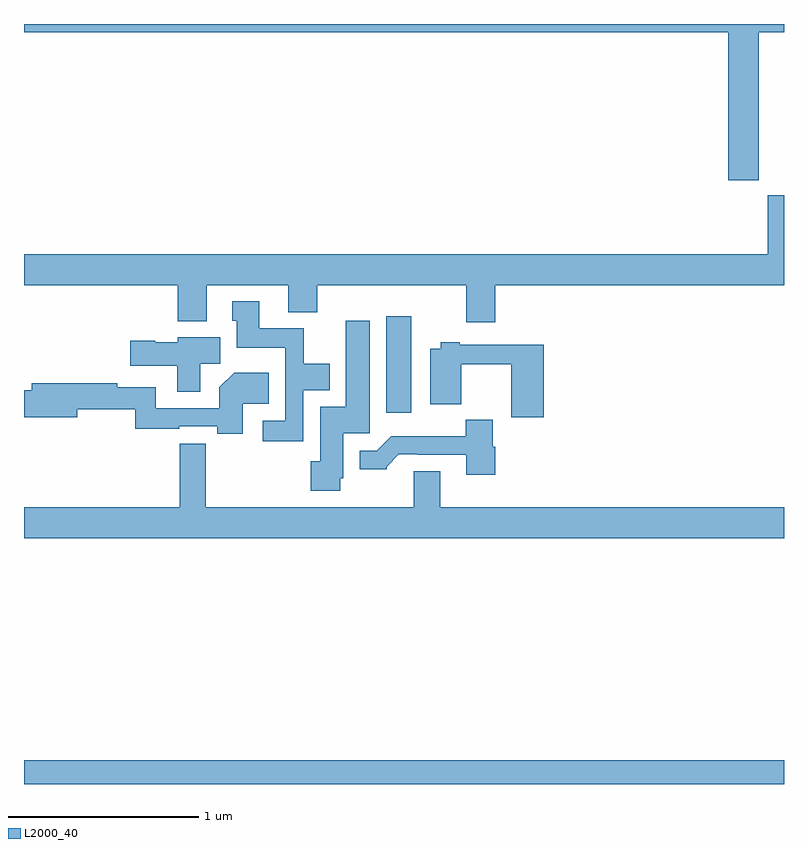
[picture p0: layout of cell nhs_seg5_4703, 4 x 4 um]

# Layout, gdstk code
import gdstk
lib = gdstk.Library(unit=1e-6, precision=1e-09)
def R(c, l, rs):  # rectangles x0, y0, x1, y1
    for r in rs: c.add(gdstk.rectangle(r[:2], r[2:], *l))
def P(c, l, *ps):  # polygons
    for p in ps: c.add(gdstk.Polygon(p, *l))
L2000_40 = (2000, 40)

nhs_seg5_4703 = lib.new_cell('nhs_seg5_4703')
R(nhs_seg5_4703, L2000_40, [(387,856.799,391,856.924), (388.907,858.753,389.038,859.261)])
P(nhs_seg5_4703, L2000_40, [(390.867,860.756),(391,860.756),(391,860.799),(387,860.799),(387,860.756),(390.707,860.756),(390.707,859.977),(390.867,859.977)],
  [(387,859.424),(387.809,859.424),(387.809,859.235),(387.961,859.235),(387.961,859.424),(388.391,859.424),(388.391,859.283),(388.544,859.283),(388.544,859.424),(389.327,859.424),(389.327,859.23),(389.48,859.23),(389.48,859.424),(391,859.424),(391,859.897),(390.914,859.897),(390.914,859.588),(387,859.588)],
  [(388.47,858.872),(388.609,858.872),(388.609,859.012),(388.473,859.012),(388.473,859.198),(388.237,859.198),(388.237,859.339),(388.097,859.339),(388.097,859.236),(388.121,859.236),(388.121,859.094),(388.374,859.094),(388.374,858.711),(388.257,858.711),(388.257,858.603),(388.47,858.603)],
  [(388.665,858.408),(388.681,858.408),(388.681,858.645),(388.819,858.645),(388.819,859.237),(388.694,859.237),(388.694,858.784),(388.559,858.784),(388.559,858.498),(388.508,858.498),(388.508,858.342),(388.665,858.342)],
  [(387.928,859.012),(388.033,859.012),(388.033,859.15),(387.81,859.15),(387.81,859.123),(387.69,859.123),(387.69,859.131),(387.558,859.131),(387.558,859.001),(387.806,859.001),(387.806,858.864),(387.928,858.864)],
  [(389.735,859.11),(389.293,859.11),(389.293,859.123),(389.193,859.123),(389.193,859.09),(389.138,859.09),(389.138,858.797),(389.3,858.797),(389.3,859.009),(389.564,859.009),(389.564,858.729),(389.735,858.729)],
  [(388.15,858.8),(388.289,858.8),(388.289,858.964),(388.106,858.964),(388.028,858.886),(388.028,858.777),(387.693,858.777),(387.693,858.888),(387.49,858.888),(387.49,858.908),(387.041,858.908),(387.041,858.872),(387,858.872),(387,858.73),(387.28,858.73),(387.28,858.772),(387.585,858.772),(387.585,858.669),(387.816,858.669),(387.816,858.681),(388.016,858.681),(388.016,858.643),(388.15,858.643)],
  [(389.48,858.573),(389.467,858.573),(389.467,858.715),(389.325,858.715),(389.325,858.628),(388.933,858.628),(388.857,858.552),(388.766,858.552),(388.766,858.455),(388.908,858.455),(388.908,858.47),(388.972,858.534),(389.071,858.534),(389.071,858.531),(389.327,858.531),(389.327,858.426),(389.48,858.426)],
  [(391,858.256),(389.191,858.256),(389.191,858.446),(389.051,858.446),(389.051,858.256),(387.956,858.256),(387.956,858.589),(387.82,858.589),(387.82,858.256),(387,858.256),(387,858.092),(391,858.092)])

lib.write_gds('nhs_seg5_4703.gds')
